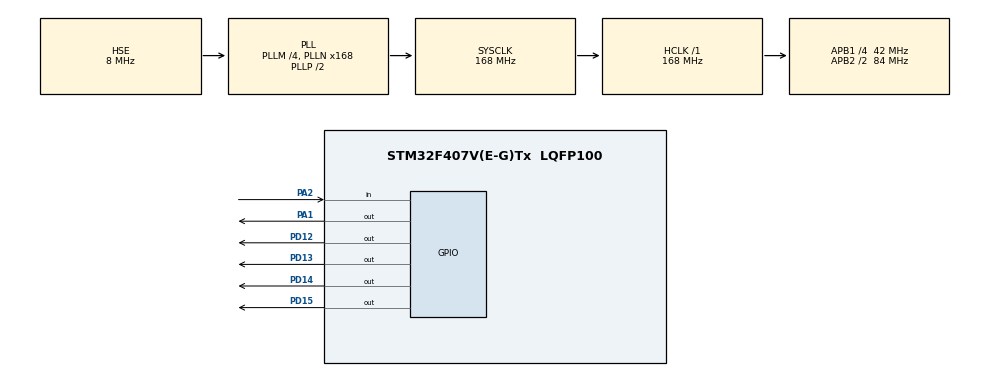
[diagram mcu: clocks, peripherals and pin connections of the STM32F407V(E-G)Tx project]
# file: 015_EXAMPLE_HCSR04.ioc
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Mcu.Family=STM32F4
Mcu.Name=STM32F407V(E-G)Tx
Mcu.Package=LQFP100
NVIC.PriorityGroup=NVIC_PRIORITYGROUP_4
PA1.Signal=GPIO_Output
PA2.Signal=GPIO_Input
PD12.Signal=GPIO_Output
PD13.Signal=GPIO_Output
PD14.Signal=GPIO_Output
PD15.Signal=GPIO_Output
PH0-OSC_IN.Mode=HSE-External-Oscillator
PH0-OSC_IN.Signal=RCC_OSC_IN
PH1-OSC_OUT.Mode=HSE-External-Oscillator
PH1-OSC_OUT.Signal=RCC_OSC_OUT
ProjectManager.HeapSize=0x200
ProjectManager.StackSize=0x400
ProjectManager.TargetToolchain=TrueSTUDIO
RCC.48MHZClocksFreq_Value=84000000
RCC.AHBFreq_Value=168000000
RCC.APB1CLKDivider=RCC_HCLK_DIV4
RCC.APB1Freq_Value=42000000
RCC.APB1TimFreq_Value=84000000
RCC.APB2CLKDivider=RCC_HCLK_DIV2
RCC.APB2Freq_Value=84000000
RCC.APB2TimFreq_Value=168000000
RCC.CortexFreq_Value=168000000
RCC.HCLKFreq_Value=168000000
RCC.HSE_VALUE=8000000
RCC.HSI_VALUE=16000000
RCC.LSE_VALUE=32768
RCC.PLLM=4
RCC.PLLN=168
RCC.PLLSourceVirtual=RCC_PLLSOURCE_HSE
RCC.SYSCLKFreq_VALUE=168000000
RCC.SYSCLKSource=RCC_SYSCLKSOURCE_PLLCLK
RCC.VCOOutputFreq_Value=336000000
board=custom

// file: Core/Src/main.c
/* USER CODE BEGIN Header */
/**
  ******************************************************************************
  * @file           : main.c
  * @brief          : Main program body
  ******************************************************************************
  * @attention
  *
  * Copyright (c) 2022 STMicroelectronics.
  * All rights reserved.
  *
  * This software is licensed under terms that can be found in the LICENSE file
  * in the root directory of this software component.
  * If no LICENSE file comes with this software, it is provided AS-IS.
  *
  ******************************************************************************
  */
/* USER CODE END Header */
#include "main.h"
#include "dwt_delay.h"

/* USER CODE BEGIN PV */

uint32_t time;
uint8_t distance;

uint32_t read_Hcsr04(){

	uint32_t localTime;
	HAL_GPIO_WritePin(GPIOA,GPIO_PIN_1,SET);
	DWT_Delay(10);
	HAL_GPIO_WritePin(GPIOA,GPIO_PIN_1,RESET);

	while(!(HAL_GPIO_ReadPin(GPIOA,GPIO_PIN_2))){
		localTime++;
		DWT_Delay(1);

	}
	return localTime;
}

/* USER CODE END PV */

void SystemClock_Config(void);
static void MX_GPIO_Init(void);

int main(void)
{

  /* MCU Configuration--------------------------------------------------------*/

  /* Reset of all peripherals, Initializes the Flash interface and the Systick. */
  HAL_Init();

  /* Configure the system clock */
  SystemClock_Config();

  /* Initialize all configured peripherals */
  MX_GPIO_Init();
  /* USER CODE BEGIN 2 */
    DWT_Init();
  /* USER CODE END 2 */

  /* Infinite loop */
  while (1)
  {

    /* USER CODE BEGIN 3 */
	  time=read_Hcsr04() ;
	  distance =time/58 ;
	  HAL_Delay(200);
  }
  /* USER CODE END 3 */
}

void SystemClock_Config(void)
{
  RCC_OscInitTypeDef RCC_OscInitStruct = {0};
  RCC_ClkInitTypeDef RCC_ClkInitStruct = {0};

  /** Configure the main internal regulator output voltage
  */
  __HAL_RCC_PWR_CLK_ENABLE();
  __HAL_PWR_VOLTAGESCALING_CONFIG(PWR_REGULATOR_VOLTAGE_SCALE1);
  /** Initializes the RCC Oscillators according to the specified parameters
  * in the RCC_OscInitTypeDef structure.
  */
  RCC_OscInitStruct.OscillatorType = RCC_OSCILLATORTYPE_HSE;
  RCC_OscInitStruct.HSEState = RCC_HSE_ON;
  RCC_OscInitStruct.PLL.PLLState = RCC_PLL_ON;
  RCC_OscInitStruct.PLL.PLLSource = RCC_PLLSOURCE_HSE;
  RCC_OscInitStruct.PLL.PLLM = 4;
  RCC_OscInitStruct.PLL.PLLN = 168;
  RCC_OscInitStruct.PLL.PLLP = RCC_PLLP_DIV2;
  RCC_OscInitStruct.PLL.PLLQ = 4;
  if (HAL_RCC_OscConfig(&RCC_OscInitStruct) != HAL_OK)
  {
    Error_Handler();
  }
  /** Initializes the CPU, AHB and APB buses clocks
  */
  RCC_ClkInitStruct.ClockType = RCC_CLOCKTYPE_HCLK|RCC_CLOCKTYPE_SYSCLK
                              |RCC_CLOCKTYPE_PCLK1|RCC_CLOCKTYPE_PCLK2;
  RCC_ClkInitStruct.SYSCLKSource = RCC_SYSCLKSOURCE_PLLCLK;
  RCC_ClkInitStruct.AHBCLKDivider = RCC_SYSCLK_DIV1;
  RCC_ClkInitStruct.APB1CLKDivider = RCC_HCLK_DIV4;
  RCC_ClkInitStruct.APB2CLKDivider = RCC_HCLK_DIV2;

  if (HAL_RCC_ClockConfig(&RCC_ClkInitStruct, FLASH_LATENCY_5) != HAL_OK)
  {
    Error_Handler();
  }
}

static void MX_GPIO_Init(void)
{
  GPIO_InitTypeDef GPIO_InitStruct = {0};

  /* GPIO Ports Clock Enable */
  __HAL_RCC_GPIOH_CLK_ENABLE();
  __HAL_RCC_GPIOA_CLK_ENABLE();
  __HAL_RCC_GPIOD_CLK_ENABLE();

  /*Configure GPIO pin Output Level */
  HAL_GPIO_WritePin(GPIOA, GPIO_PIN_1, GPIO_PIN_RESET);

  /*Configure GPIO pin Output Level */
  HAL_GPIO_WritePin(GPIOD, GPIO_PIN_12|GPIO_PIN_13|GPIO_PIN_14|GPIO_PIN_15, GPIO_PIN_RESET);

  /*Configure GPIO pin : PA1 */
  GPIO_InitStruct.Pin = GPIO_PIN_1;
  GPIO_InitStruct.Mode = GPIO_MODE_OUTPUT_PP;
  GPIO_InitStruct.Pull = GPIO_NOPULL;
  GPIO_InitStruct.Speed = GPIO_SPEED_FREQ_LOW;
  HAL_GPIO_Init(GPIOA, &GPIO_InitStruct);

  /*Configure GPIO pin : PA2 */
  GPIO_InitStruct.Pin = GPIO_PIN_2;
  GPIO_InitStruct.Mode = GPIO_MODE_INPUT;
  GPIO_InitStruct.Pull = GPIO_NOPULL;
  HAL_GPIO_Init(GPIOA, &GPIO_InitStruct);

  /*Configure GPIO pins : PD12 PD13 PD14 PD15 */
  GPIO_InitStruct.Pin = GPIO_PIN_12|GPIO_PIN_13|GPIO_PIN_14|GPIO_PIN_15;
  GPIO_InitStruct.Mode = GPIO_MODE_OUTPUT_PP;
  GPIO_InitStruct.Pull = GPIO_NOPULL;
  GPIO_InitStruct.Speed = GPIO_SPEED_FREQ_LOW;
  HAL_GPIO_Init(GPIOD, &GPIO_InitStruct);

}

void Error_Handler(void)
{
  __disable_irq();
  while (1)
  {
  }
}
